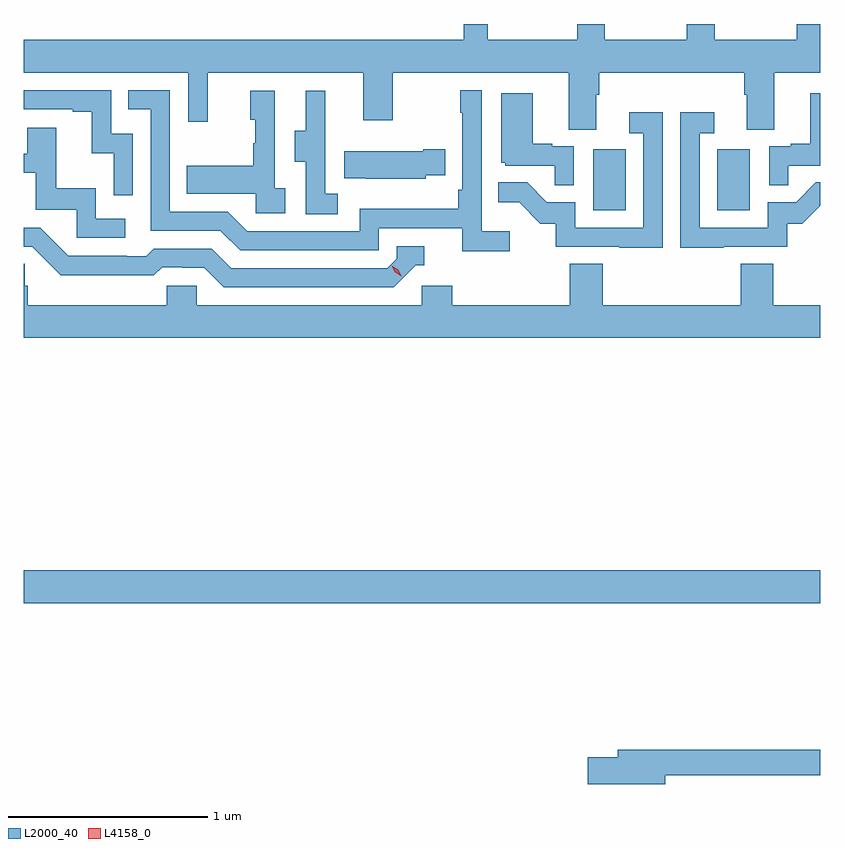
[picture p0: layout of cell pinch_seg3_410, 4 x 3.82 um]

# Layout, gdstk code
import gdstk
lib = gdstk.Library(unit=1e-6, precision=1e-09)
def R(c, l, rs):  # rectangles x0, y0, x1, y1
    for r in rs: c.add(gdstk.rectangle(r[:2], r[2:], *l))
def P(c, l, *ps):  # polygons
    for p in ps: c.add(gdstk.Polygon(p, *l))
L2000_40 = (2000, 40)
L4158_0 = (4158, 0)

pinch_seg3_410 = lib.new_cell('pinch_seg3_410')
R(pinch_seg3_410, L2000_40, [(921.965,691.592,925.965,691.756), (924.824,693.564,924.988,693.871), (925.448,693.564,925.612,693.871)])
P(pinch_seg3_410, L2000_40, [(924.841,694.144),(924.854,694.144),(924.854,694.256),(925.583,694.256),(925.583,694.144),(925.595,694.144),(925.595,693.97),(925.735,693.97),(925.735,694.256),(925.965,694.256),(925.965,694.5),(925.847,694.5),(925.847,694.42),(925.435,694.42),(925.435,694.5),(925.295,694.5),(925.295,694.42),(924.883,694.42),(924.883,694.5),(924.744,694.5),(924.744,694.42),(924.295,694.42),(924.295,694.5),(924.174,694.5),(924.174,694.42),(921.965,694.42),(921.965,694.256),(922.791,694.256),(922.791,694.008),(922.889,694.008),(922.889,694.256),(923.669,694.256),(923.669,694.017),(923.817,694.017),(923.817,694.256),(924.701,694.256),(924.701,693.97),(924.841,693.97)],
  [(924.406,693.46),(924.264,693.46),(924.264,694.168),(924.156,694.168),(924.156,694.055),(924.168,694.055),(924.168,693.667),(924.148,693.667),(924.148,693.571),(923.652,693.571),(923.652,693.459),(923.088,693.459),(922.989,693.558),(922.698,693.558),(922.698,694.167),(922.489,694.167),(922.489,694.071),(922.602,694.071),(922.602,693.462),(922.952,693.462),(923.051,693.363),(923.748,693.363),(923.748,693.474),(924.167,693.474),(924.167,693.358),(924.406,693.358)],
  [(922.512,693.948),(922.404,693.948),(922.404,694.167),(921.965,694.167),(921.965,694.071),(922.211,694.071),(922.211,694.059),(922.307,694.059),(922.307,693.851),(922.416,693.851),(922.416,693.639),(922.512,693.639)],
  [(923.542,693.647),(923.478,693.647),(923.478,693.951),(923.48,693.951),(923.48,694.165),(923.381,694.165),(923.381,693.963),(923.327,693.963),(923.327,693.808),(923.382,693.808),(923.382,693.544),(923.542,693.544)],
  [(923.278,693.674),(923.226,693.674),(923.226,694.165),(923.102,694.165),(923.102,694.02),(923.128,694.02),(923.128,693.902),(923.118,693.902),(923.118,693.787),(922.783,693.787),(922.783,693.647),(923.13,693.647),(923.13,693.549),(923.278,693.549)],
  [(924.726,693.885),(924.62,693.885),(924.62,693.898),(924.52,693.898),(924.52,694.153),(924.362,694.153),(924.362,693.804),(924.384,693.804),(924.384,693.789),(924.631,693.789),(924.631,693.691),(924.726,693.691)],
  [(925.805,693.789),(925.965,693.789),(925.965,694.153),(925.916,694.153),(925.916,693.898),(925.817,693.898),(925.817,693.885),(925.71,693.885),(925.71,693.691),(925.805,693.691)],
  [(925.481,693.381),(925.8,693.381),(925.8,693.498),(925.876,693.498),(925.965,693.587),(925.965,693.704),(925.943,693.704),(925.845,693.606),(925.701,693.606),(925.701,693.477),(925.359,693.477),(925.359,693.951),(925.432,693.951),(925.432,694.057),(925.263,694.057),(925.263,693.376),(925.481,693.376)],
  [(925.173,694.057),(925.005,694.057),(925.005,693.951),(925.077,693.951),(925.077,693.477),(924.735,693.477),(924.735,693.606),(924.591,693.606),(924.493,693.704),(924.349,693.704),(924.349,693.605),(924.453,693.605),(924.56,693.498),(924.637,693.498),(924.637,693.381),(924.955,693.381),(924.955,693.376),(925.173,693.376)],
  [(922.474,693.522),(922.326,693.522),(922.326,693.676),(922.127,693.676),(922.127,693.979),(921.983,693.979),(921.983,693.849),(921.965,693.849),(921.965,693.753),(922.025,693.753),(922.025,693.567),(922.23,693.567),(922.23,693.426),(922.474,693.426)],
  [(923.985,693.74),(924.083,693.74),(924.083,693.87),(923.972,693.87),(923.972,693.862),(923.575,693.862),(923.575,693.725),(923.683,693.725),(923.683,693.722),(923.985,693.722)],
  [(923.934,693.288),(923.977,693.288),(923.977,693.384),(923.838,693.384),(923.838,693.321),(923.79,693.273),(923.007,693.273),(922.908,693.372),(922.619,693.372),(922.58,693.333),(922.481,693.333),(922.481,693.336),(922.188,693.336),(922.047,693.477),(921.965,693.477),(921.965,693.381),(922.008,693.381),(922.15,693.239),(922.386,693.239),(922.386,693.237),(922.619,693.237),(922.661,693.279),(922.764,693.279),(922.764,693.276),(922.871,693.276),(922.97,693.177),(923.823,693.177)],
  [(921.971,693.186),(921.971,693.296),(921.965,693.296),(921.965,692.924),(925.965,692.924),(925.965,693.088),(925.73,693.088),(925.73,693.296),(925.565,693.296),(925.565,693.088),(924.872,693.088),(924.872,693.296),(924.707,693.296),(924.707,693.088),(924.116,693.088),(924.116,693.186),(923.964,693.186),(923.964,693.088),(922.833,693.088),(922.833,693.186),(922.683,693.186),(922.683,693.088),(921.986,693.088),(921.986,693.186)],
  [(925.186,690.726),(925.965,690.726),(925.965,690.854),(924.947,690.854),(924.947,690.818),(924.798,690.818),(924.798,690.683),(925.186,690.683)])
P(pinch_seg3_410, L4158_0, [(923.86,693.234),(923.83,693.254),(923.814,693.287),(923.814,693.287),(923.814,693.287),(923.845,693.267),(923.86,693.234),(923.86,693.234)])

lib.write_gds('pinch_seg3_410.gds')
